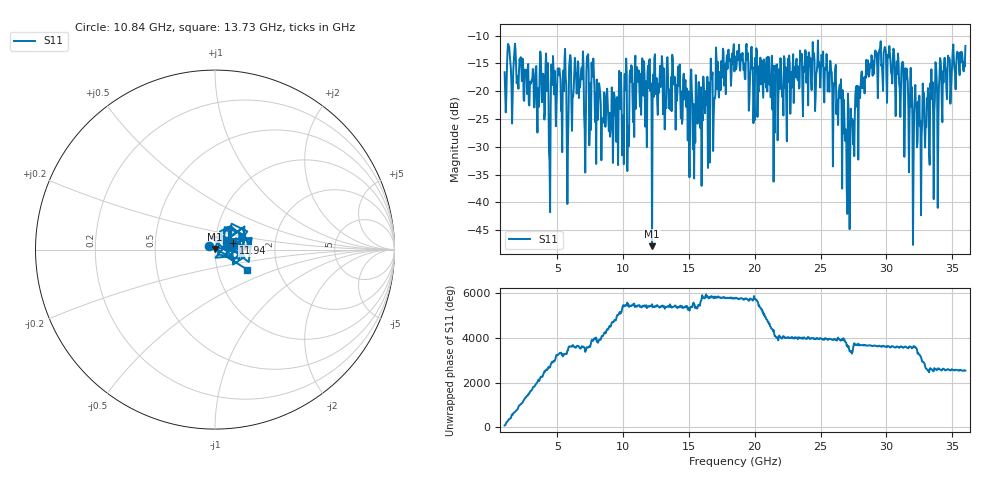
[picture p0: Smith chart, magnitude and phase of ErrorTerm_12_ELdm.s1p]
!  1-Port S-parameters saved by WinCal
! VAR NAME=2-Port LRRM (Conv to 12) labuser
! VAR Error Term Name=ELdm phys rcv port 1 phys src port 2
# Hz S RI R 50
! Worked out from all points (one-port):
!   801 points, 1 GHz to 36 GHz, reference 50 ohm
!   lowest |S11| = -47.9 dB at 12.2 GHz (marker M1), VSWR 1.01, Z = 49.8 + j0.372 ohm
!   |S11| at or under -10 dB: start of sweep to end of sweep
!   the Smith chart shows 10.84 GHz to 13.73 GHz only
!   S11 on the Smith chart (normalised r, x): 10.84 GHz: 0.94, +0.04; 11.94 GHz: 1.22, +0.09; 13.73 GHz: 1.40, -0.33
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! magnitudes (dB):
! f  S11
! 1 GHz  -16.6
! 1.35 GHz  -12.0
! 4.106 GHz  -15.5
! 4.369 GHz  -30.9
! 4.675 GHz  -13.7
! 5.375 GHz  -31.0
! 6.775 GHz  -17.8
! 8.525 GHz  -25.7
! 9.75 GHz  -18.1
! 10.84 GHz  -28.3
! 11.94 GHz  -19.4
! 12.2 GHz  -47.9
! 13.73 GHz  -13.5
! 14.12 GHz  -20.3
! 15.48 GHz  -29.3
! 18.5 GHz  -14.8
! 21.61 GHz  -16.8
! 22.88 GHz  -16.0
! 24.98 GHz  -19.4
! 26.42 GHz  -19.5
! 27.07 GHz  -20.5
! 27.25 GHz  -31.7
! 29.04 GHz  -16.9
! 31.62 GHz  -18.3
! 31.89 GHz  -22.7
! 32.33 GHz  -30.1
! 32.5 GHz  -20.8
! 36 GHz  -11.9
